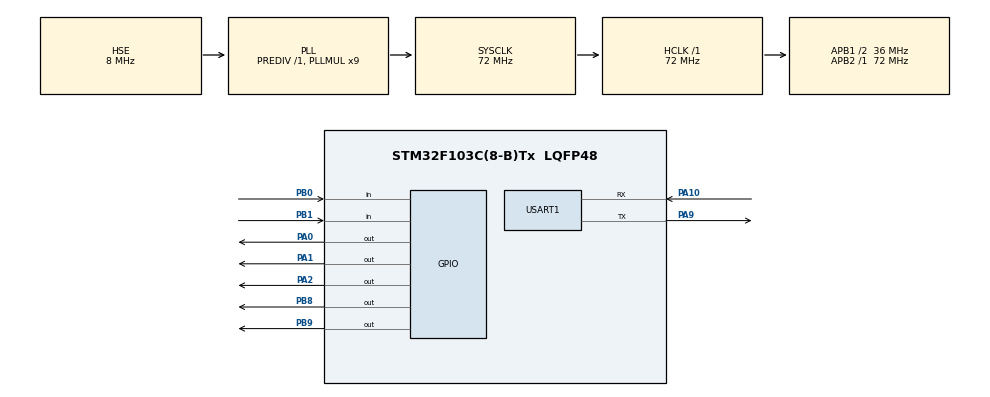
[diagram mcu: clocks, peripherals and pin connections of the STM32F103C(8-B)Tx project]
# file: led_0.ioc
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Mcu.Family=STM32F1
Mcu.Name=STM32F103C(8-B)Tx
Mcu.Package=LQFP48
NVIC.PriorityGroup=NVIC_PRIORITYGROUP_4
NVIC.USART1_IRQn=true\:0\:0\:false\:false\:true\:true\:true\:true
PA0-WKUP.GPIO_PuPd=GPIO_NOPULL
PA0-WKUP.Signal=GPIO_Output
PA1.Signal=GPIO_Output
PA10.Mode=Asynchronous
PA10.Signal=USART1_RX
PA13.Mode=Serial_Wire
PA13.Signal=SYS_JTMS-SWDIO
PA14.Mode=Serial_Wire
PA14.Signal=SYS_JTCK-SWCLK
PA2.Signal=GPIO_Output
PA9.Mode=Asynchronous
PA9.Signal=USART1_TX
PB0.GPIO_PuPd=GPIO_PULLUP
PB0.Signal=GPIO_Input
PB1.GPIO_PuPd=GPIO_PULLUP
PB1.Signal=GPIO_Input
PB8.GPIO_ModeDefaultOutputPP=GPIO_MODE_OUTPUT_OD
PB8.GPIO_PuPd=GPIO_NOPULL
PB8.GPIO_Speed=GPIO_SPEED_FREQ_HIGH
PB8.PinState=GPIO_PIN_SET
PB8.Signal=GPIO_Output
PB9.GPIO_ModeDefaultOutputPP=GPIO_MODE_OUTPUT_OD
PB9.GPIO_PuPd=GPIO_NOPULL
PB9.GPIO_Speed=GPIO_SPEED_FREQ_HIGH
PB9.PinState=GPIO_PIN_SET
PB9.Signal=GPIO_Output
PD0-OSC_IN.Mode=HSE-External-Oscillator
PD0-OSC_IN.Signal=RCC_OSC_IN
PD1-OSC_OUT.Mode=HSE-External-Oscillator
PD1-OSC_OUT.Signal=RCC_OSC_OUT
ProjectManager.HeapSize=0x200
ProjectManager.StackSize=0x400
ProjectManager.TargetToolchain=STM32CubeIDE
RCC.AHBFreq_Value=72000000
RCC.APB1CLKDivider=RCC_HCLK_DIV2
RCC.APB1Freq_Value=36000000
RCC.APB1TimFreq_Value=72000000
RCC.APB2Freq_Value=72000000
RCC.APB2TimFreq_Value=72000000
RCC.HCLKFreq_Value=72000000
RCC.PLLMUL=RCC_PLL_MUL9
RCC.PLLSourceVirtual=RCC_PLLSOURCE_HSE
RCC.SYSCLKFreq_VALUE=72000000
RCC.SYSCLKSource=RCC_SYSCLKSOURCE_PLLCLK
RCC.USBFreq_Value=72000000
USART1.VirtualMode=VM_ASYNC
board=custom

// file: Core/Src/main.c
/* USER CODE BEGIN Header */
/**
  ******************************************************************************
  * @file           : main.c
  * @brief          : Main program body
  ******************************************************************************
  * @attention
  *
  * Copyright (c) 2026 STMicroelectronics.
  * All rights reserved.
  *
  * This software is licensed under terms that can be found in the LICENSE file
  * in the root directory of this software component.
  * If no LICENSE file comes with this software, it is provided AS-IS.
  *
  ******************************************************************************
  */
/* USER CODE END Header */
#include "main.h"
#include "usart.h"
#include "gpio.h"

/* USER CODE BEGIN Includes */
#include <stdio.h>
#include "OLED.h"
/* USER CODE END Includes */

/* USER CODE BEGIN PTD */
/* 6 字节数据包：AA | RUN | DIR | STEP_L | STEP_H | CHECK
   packed 保证不插入填充字节，sizeof 正好 6 */
typedef struct __attribute__((packed))
{
  uint8_t  header;    /* 固定 0xAA          */
  uint8_t  run;       /* 00 暂停 / 01 运行   */
  uint8_t  dir;       /* 00 正向 / 01 反向   */
  uint16_t step_ms;   /* 小端：低字节在前    */
  uint8_t  check;     /* 前 5 字节和，取低 8 位 */
} Packet;
/* USER CODE END PTD */

/* USER CODE BEGIN PV */
uint8_t  g_run  = 1;      /* 1 = 运行, 0 = 暂停 */
uint8_t  g_dir  = 0;      /* 0 = 正向, 1 = 反向 */
uint8_t  g_led  = 1;      /* 当前点亮第几颗：1~3 */
uint16_t g_step = 300;    /* 每颗亮多久：毫秒 */
uint32_t g_last = 0;      /* 上次换灯的时刻 */
uint8_t  g_dirty = 1;     /* 状态变了 → 需要刷新 OLED */

/* 串口接收：中断直接把字节写进这个结构体 */
static Packet          rx_pkt;
static volatile uint8_t pkt_ready = 0;

/* 串口中断发送：缓冲区必须是静态的，发送期间不能被改写 */
static uint8_t          fb_buf[64];
static volatile uint8_t fb_busy = 0;

/* 按键消抖用的状态（raw=原始电平, stable=消抖后电平, t=变化时刻） */
static uint8_t  key_dir_raw = 1, key_dir_stable = 1;
static uint32_t key_dir_t   = 0;
static uint8_t  key_run_raw = 1, key_run_stable = 1;
static uint32_t key_run_t   = 0;
/* USER CODE END PV */

void SystemClock_Config(void);
/* USER CODE BEGIN PFP */
void LED_Task(void);
static void LED_Show(uint8_t no);
void Key_Task(void);
void Packet_Task(void);
void Feedback_Send(void);
void UI_Task(void);
/* USER CODE END PFP */

/* USER CODE BEGIN 0 */
/* 屏幕方向测试：依次试 4 种组合，挑出显示正常的那一种 */
#define OLED_ORIENT_TEST 0

extern void OLED_WriteCommand(uint8_t Command);

/* 显示起始行测试：找出不出现“半行绕回”的那个值 */
#define OLED_OFFSET_TEST 0

#if OLED_OFFSET_TEST
void OLED_OffsetTest(void)
{
  static const uint8_t st[4] = { 0x40, 0x42, 0x44, 0x46 };  /* 起始行 0 / 2 / 4 / 6 */
  while (1) {
    for (int i = 0; i < 4; i++) {
      OLED_WriteCommand(st[i]);
      OLED_Clear();
      OLED_ShowString(1, 1, "STATE: RUN");
      OLED_ShowString(2, 1, "DIR: REV");
      OLED_ShowString(3, 1, "STEP: 300ms");
      OLED_ShowString(4, 1, "LED: 1");
      HAL_Delay(2500);
    }
  }
}
#endif

#if OLED_ORIENT_TEST
void OLED_OrientTest(void)
{
  static const uint8_t seg[2] = { 0xA0, 0xA1 };   /* 左右方向 */
  static const uint8_t com[2] = { 0xC0, 0xC8 };   /* 上下方向 */

  while (1) {
    for (int s = 0; s < 2; s++) {
      for (int c = 0; c < 2; c++) {

        OLED_WriteCommand(seg[s]);
        OLED_WriteCommand(com[c]);
        OLED_Clear();

        OLED_ShowString(1, 1, "STATE: RUN");
        OLED_ShowString(2, 1, "DIR: FWD");
        OLED_ShowString(3, 1, "STEP: 300ms");
        OLED_ShowString(4, 1, "LED: 1");

        HAL_Delay(2500);
      }
    }
  }
}
#endif
/* USER CODE END 0 */

int main(void)
{

  /* MCU Configuration--------------------------------------------------------*/

  /* Reset of all peripherals, Initializes the Flash interface and the Systick. */
  HAL_Init();

  /* Configure the system clock */
  SystemClock_Config();

  /* Initialize all configured peripherals */
  MX_GPIO_Init();
  MX_USART1_UART_Init();
  /* USER CODE BEGIN 2 */
  g_last = HAL_GetTick();
  LED_Show(g_led);              /* 上电立刻只亮第一颗 */

  OLED_Init();                 /* 屏初始化：内部会自己配好 PB8/PB9 */

#if OLED_ORIENT_TEST
  OLED_OrientTest();           /* 方向测试：死循环，2.5 秒换一种方向 */
#endif

#if OLED_OFFSET_TEST
  OLED_OffsetTest();           /* 起始行测试：2.5 秒换一个偏移 */
#endif
  UI_Task();                   /* 上电先把四行状态画出来 */

  /* 启动第一次串口中断接收：收满 6 字节才进回调 */
  HAL_UART_Receive_IT(&huart1, (uint8_t *)&rx_pkt, sizeof(rx_pkt));

  /* 上电先给电脑报一次当前状态 */
  Feedback_Send();
  /* USER CODE END 2 */

  /* Infinite loop */
  while (1)
  {

    /* USER CODE BEGIN 3 */
    Key_Task();
    Packet_Task();
    LED_Task();
    UI_Task();
  }
  /* USER CODE END 3 */
}

void SystemClock_Config(void)
{
  RCC_OscInitTypeDef RCC_OscInitStruct = {0};
  RCC_ClkInitTypeDef RCC_ClkInitStruct = {0};

  /** Initializes the RCC Oscillators according to the specified parameters
  * in the RCC_OscInitTypeDef structure.
  */
  RCC_OscInitStruct.OscillatorType = RCC_OSCILLATORTYPE_HSE;
  RCC_OscInitStruct.HSEState = RCC_HSE_ON;
  RCC_OscInitStruct.HSEPredivValue = RCC_HSE_PREDIV_DIV1;
  RCC_OscInitStruct.HSIState = RCC_HSI_ON;
  RCC_OscInitStruct.PLL.PLLState = RCC_PLL_ON;
  RCC_OscInitStruct.PLL.PLLSource = RCC_PLLSOURCE_HSE;
  RCC_OscInitStruct.PLL.PLLMUL = RCC_PLL_MUL9;
  if (HAL_RCC_OscConfig(&RCC_OscInitStruct) != HAL_OK)
  {
    Error_Handler();
  }

  /** Initializes the CPU, AHB and APB buses clocks
  */
  RCC_ClkInitStruct.ClockType = RCC_CLOCKTYPE_HCLK|RCC_CLOCKTYPE_SYSCLK
                              |RCC_CLOCKTYPE_PCLK1|RCC_CLOCKTYPE_PCLK2;
  RCC_ClkInitStruct.SYSCLKSource = RCC_SYSCLKSOURCE_PLLCLK;
  RCC_ClkInitStruct.AHBCLKDivider = RCC_SYSCLK_DIV1;
  RCC_ClkInitStruct.APB1CLKDivider = RCC_HCLK_DIV2;
  RCC_ClkInitStruct.APB2CLKDivider = RCC_HCLK_DIV1;

  if (HAL_RCC_ClockConfig(&RCC_ClkInitStruct, FLASH_LATENCY_2) != HAL_OK)
  {
    Error_Handler();
  }
}

/* USER CODE BEGIN 4 */
/* 只点亮第 no 颗，其余全灭 */
static void LED_Show(uint8_t no)
{
  /* 本实验的 LED 为共阳接法：低电平点亮，所以选中的那颗给 RESET */
  HAL_GPIO_WritePin(GPIOA, GPIO_PIN_0, (no == 1) ? GPIO_PIN_RESET : GPIO_PIN_SET);
  HAL_GPIO_WritePin(GPIOA, GPIO_PIN_1, (no == 2) ? GPIO_PIN_RESET : GPIO_PIN_SET);
  HAL_GPIO_WritePin(GPIOA, GPIO_PIN_2, (no == 3) ? GPIO_PIN_RESET : GPIO_PIN_SET);
}

/* 时间到了就跳到下一颗，不阻塞 */
void LED_Task(void)
{
  if (!g_run) return;                            /* 暂停：灯保持不动 */
  if (HAL_GetTick() - g_last < g_step) return;   /* 没到时间就退出 */
  g_last = HAL_GetTick();                        /* 记下这次换灯的时刻 */

  if (g_dir == 0)
    g_led = (g_led >= 3) ? 1 : g_led + 1;        /* 正向 1→2→3→1 */
  else
    g_led = (g_led <= 1) ? 3 : g_led - 1;        /* 反向 1→3→2→1 */

  LED_Show(g_led);
  g_dirty = 1;                                   /* 灯号变了，OLED 要跟着变 */
}

/* 消抖：返回 1 表示「刚刚按下」这一次，按住不放只返回一次 */
static uint8_t Key_Pressed(uint8_t *raw, uint8_t *stable, uint32_t *t,
                           GPIO_TypeDef *port, uint16_t pin)
{
  uint8_t now = (HAL_GPIO_ReadPin(port, pin) == GPIO_PIN_RESET) ? 0 : 1;

  if (now != *raw) {          /* 电平变了，重新计时 */
    *raw = now;
    *t   = HAL_GetTick();
  }

  if (HAL_GetTick() - *t >= 15 && now != *stable) {
    *stable = now;            /* 稳定 15ms，承认这次变化 */
    if (*stable == 0) return 1;   /* 稳定为低 → 一次按下 */
  }
  return 0;
}

/* PB0 → 切方向；PB1 → 暂停/继续 */
void Key_Task(void)
{
  if (Key_Pressed(&key_dir_raw, &key_dir_stable, &key_dir_t, GPIOB, GPIO_PIN_0)) {
    g_dir   = !g_dir;
    g_dirty = 1;
    Feedback_Send();          /* 按键改了状态，也要回传电脑 */
  }

  if (Key_Pressed(&key_run_raw, &key_run_stable, &key_run_t, GPIOB, GPIO_PIN_1)) {
    g_run   = !g_run;
    g_last  = HAL_GetTick();   /* 恢复后从现在重新计时，避免立刻跳一格 */
    g_dirty = 1;
    Feedback_Send();
  }
}

/* 主循环里拆包：校验通过才改状态，不通过整包丢弃 */
void Packet_Task(void)
{
  if (!pkt_ready) return;

  Packet p = rx_pkt;             /* 先复制出来，避免处理期间被下一包覆盖 */
  pkt_ready = 0;

  /* 立刻重新挂上接收，为下一包做准备 */
  HAL_UART_Receive_IT(&huart1, (uint8_t *)&rx_pkt, sizeof(rx_pkt));

  const uint8_t *b = (const uint8_t *)&p;
  uint8_t sum = 0;
  for (uint8_t i = 0; i < 5; i++) sum += b[i];   /* 前 5 字节累加 */

  if (p.header != 0xAA) return;                  /* 帧头不对，丢弃 */
  if (sum != p.check)   return;                  /* 校验不对，丢弃 */
  if (p.run > 1 || p.dir > 1) return;            /* 标志只允许 0/1 */
  if (p.step_ms < 100 || p.step_ms > 2000) return; /* 间隔越界，丢弃 */

  g_run   = p.run;
  g_dir   = p.dir;
  g_step  = p.step_ms;
  g_last  = HAL_GetTick();       /* 从这一刻重新计时 */
  g_dirty = 1;

  Feedback_Send();
}

/* 用中断发一行状态：STATE=RUN,DIR=FWD,STEP=300,LED=1 */
void Feedback_Send(void)
{
  if (fb_busy) return;           /* 上一次还没发完，本次跳过 */

  int n = snprintf((char *)fb_buf, sizeof(fb_buf),
                   "STATE=%s,DIR=%s,STEP=%u,LED=%u\r\n",
                   g_run ? "RUN" : "STOP",
                   g_dir ? "REV" : "FWD",
                   (unsigned int)g_step, (unsigned int)g_led);
  if (n <= 0 || n >= (int)sizeof(fb_buf)) return;

  fb_busy = 1;
  if (HAL_UART_Transmit_IT(&huart1, fb_buf, (uint16_t)n) != HAL_OK)
    fb_busy = 0;                 /* 启动失败就立刻清标志，下次还能发 */
}

/* 收满 6 字节触发：回调里只置标志，其余交给主循环 */
void HAL_UART_RxCpltCallback(UART_HandleTypeDef *huart)
{
  if (huart->Instance == USART1) {
    pkt_ready = 1;
  }
}

/* 发送完成触发：清忙标志 */
void HAL_UART_TxCpltCallback(UART_HandleTypeDef *huart)
{
  if (huart->Instance == USART1) {
    fb_busy = 0;
  }
}

/* 状态变了才刷屏：每行末尾补空格，用来擦掉上一次留下的旧字符 */
void UI_Task(void)
{
  char line[17];

  if (!g_dirty) return;
  g_dirty = 0;

  snprintf(line, sizeof(line), "STATE: %s   ", g_run ? "RUN" : "STOP");
  OLED_ShowString(1, 1, line);

  snprintf(line, sizeof(line), "DIR: %s   ", g_dir ? "REV" : "FWD");
  OLED_ShowString(2, 1, line);

  snprintf(line, sizeof(line), "STEP: %ums   ", (unsigned int)g_step);
  OLED_ShowString(3, 1, line);

  snprintf(line, sizeof(line), "LED: %u   ", (unsigned int)g_led);
  OLED_ShowString(4, 1, line);
}
/* USER CODE END 4 */

void Error_Handler(void)
{
  __disable_irq();
  while (1)
  {
  }
}
